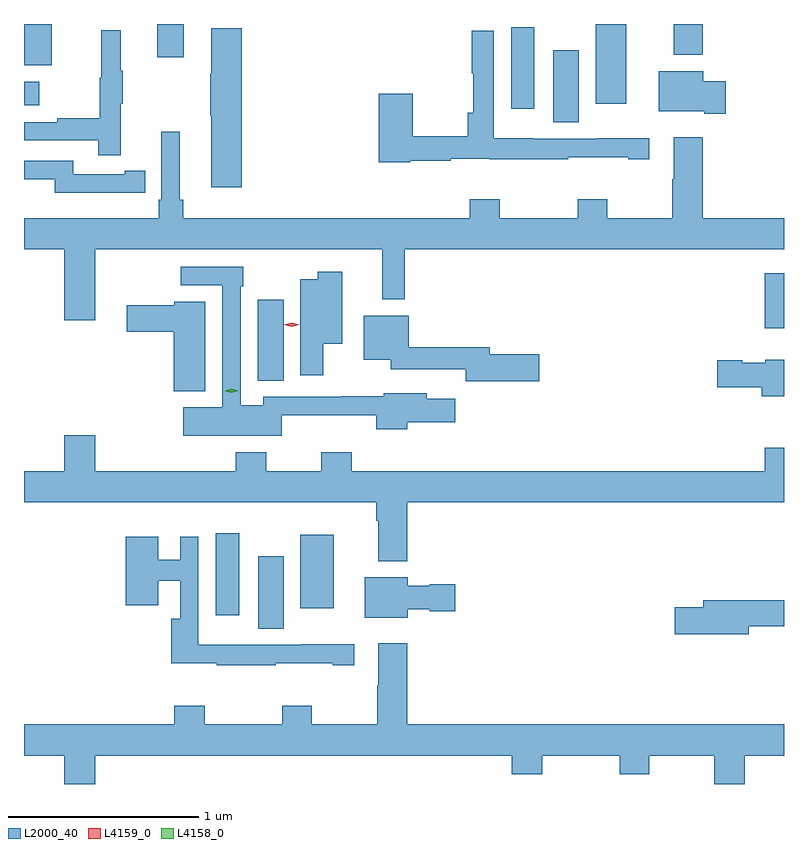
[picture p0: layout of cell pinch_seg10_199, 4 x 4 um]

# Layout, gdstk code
import gdstk
lib = gdstk.Library(unit=1e-6, precision=1e-09)
def R(c, l, rs):  # rectangles x0, y0, x1, y1
    for r in rs: c.add(gdstk.rectangle(r[:2], r[2:], *l))
def P(c, l, *ps):  # polygons
    for p in ps: c.add(gdstk.Polygon(p, *l))
L2000_40 = (2000, 40)
L4158_0 = (4158, 0)
L4159_0 = (4159, 0)

pinch_seg10_199 = lib.new_cell('pinch_seg10_199')
R(pinch_seg10_199, L2000_40, [(777.416,1279.672,777.55,1280.053), (777.194,1279.743,777.316,1280.173), (777.638,1279.778,777.814,1280.167), (777.413,1280.977,777.55,1281.403), (780.083,1281.254,780.184,1281.541), (778.97,1282.336,779.104,1282.717), (778.748,1282.407,778.87,1282.837), (776.184,1282.427,776.263,1282.549), (779.192,1282.434,779.353,1282.854), (776.184,1282.638,776.329,1282.854), (776.885,1282.68,777.025,1282.854), (779.603,1282.691,779.756,1282.854)])
P(pinch_seg10_199, L2000_40, [(777.329,1282.831),(777.17,1282.831),(777.17,1282.592),(777.163,1282.592),(777.163,1282.375),(777.17,1282.375),(777.17,1281.996),(777.329,1281.996)],
  [(776.693,1282.435),(776.704,1282.435),(776.704,1282.609),(776.693,1282.609),(776.693,1282.822),(776.59,1282.822),(776.59,1282.572),(776.583,1282.572),(776.583,1282.358),(776.359,1282.358),(776.359,1282.338),(776.184,1282.338),(776.184,1282.242),(776.575,1282.242),(776.575,1282.164),(776.693,1282.164)],
  [(778.218,1282.134),(778.43,1282.134),(778.43,1282.145),(778.632,1282.145),(778.632,1282.143),(779.048,1282.143),(779.048,1282.153),(779.363,1282.153),(779.363,1282.143),(779.476,1282.143),(779.476,1282.253),(779.2,1282.253),(779.2,1282.251),(778.866,1282.251),(778.866,1282.252),(778.656,1282.252),(778.656,1282.819),(778.54,1282.819),(778.54,1282.595),(778.548,1282.595),(778.548,1282.387),(778.519,1282.387),(778.519,1282.262),(778.23,1282.262),(778.23,1282.486),(778.052,1282.486),(778.052,1282.126),(778.218,1282.126)],
  [(779.878,1282.552),(779.758,1282.552),(779.758,1282.606),(779.525,1282.606),(779.525,1282.394),(779.765,1282.394),(779.765,1282.382),(779.878,1282.382)],
  [(780.184,1281.832),(779.756,1281.832),(779.756,1282.258),(779.603,1282.258),(779.603,1282.037),(779.596,1282.037),(779.596,1281.832),(779.253,1281.832),(779.253,1281.931),(779.098,1281.931),(779.098,1281.832),(778.689,1281.832),(778.689,1281.931),(778.529,1281.931),(778.529,1281.832),(777.023,1281.832),(777.023,1281.928),(777.004,1281.928),(777.004,1282.288),(776.907,1282.288),(776.907,1281.928),(776.894,1281.928),(776.894,1281.832),(776.184,1281.832),(776.184,1281.668),(776.396,1281.668),(776.396,1281.294),(776.56,1281.294),(776.56,1281.668),(778.07,1281.668),(778.07,1281.405),(778.187,1281.405),(778.187,1281.668),(780.184,1281.668)],
  [(776.714,1281.966),(776.822,1281.966),(776.822,1282.082),(776.714,1282.082),(776.714,1282.062),(776.442,1282.062),(776.442,1282.134),(776.184,1282.134),(776.184,1282.038),(776.346,1282.038),(776.346,1281.965),(776.714,1281.965)],
  [(777.54,1280.795),(778.037,1280.795),(778.037,1280.72),(778.202,1280.72),(778.202,1280.759),(778.453,1280.759),(778.453,1280.881),(778.303,1280.881),(778.303,1280.911),(778.077,1280.911),(778.077,1280.894),(777.856,1280.894),(777.856,1280.892),(777.444,1280.892),(777.444,1280.848),(777.324,1280.848),(777.324,1281.473),(777.337,1281.473),(777.337,1281.576),(777.009,1281.576),(777.009,1281.48),(777.228,1281.48),(777.228,1280.836),(777.021,1280.836),(777.021,1280.687),(777.54,1280.687)],
  [(777.76,1281.17),(777.859,1281.17),(777.859,1281.55),(777.73,1281.55),(777.73,1281.511),(777.638,1281.511),(777.638,1281.006),(777.76,1281.006)],
  [(777.139,1281.391),(776.976,1281.391),(776.976,1281.375),(776.724,1281.375),(776.724,1281.233),(776.972,1281.233),(776.972,1280.921),(777.139,1280.921)],
  [(778.897,1281.116),(778.636,1281.116),(778.636,1281.152),(778.209,1281.152),(778.209,1281.319),(777.971,1281.319),(777.971,1281.086),(778.113,1281.086),(778.113,1281.036),(778.508,1281.036),(778.508,1280.974),(778.897,1280.974)],
  [(780.184,1281.088),(780.084,1281.088),(780.084,1281.07),(779.964,1281.07),(779.964,1281.083),(779.832,1281.083),(779.832,1280.941),(780.068,1280.941),(780.068,1280.894),(780.184,1280.894)],
  [(778.202,1280.336),(780.184,1280.336),(780.184,1280.624),(780.083,1280.624),(780.083,1280.5),(777.908,1280.5),(777.908,1280.599),(777.748,1280.599),(777.748,1280.5),(777.459,1280.5),(777.459,1280.599),(777.299,1280.599),(777.299,1280.5),(776.56,1280.5),(776.56,1280.689),(776.396,1280.689),(776.396,1280.5),(776.184,1280.5),(776.184,1280.336),(778.037,1280.336),(778.037,1280.24),(778.049,1280.24),(778.049,1280.027),(778.202,1280.027)],
  [(777.509,1279.489),(777.809,1279.489),(777.809,1279.479),(777.922,1279.479),(777.922,1279.589),(777.646,1279.589),(777.646,1279.587),(777.312,1279.587),(777.312,1279.588),(777.102,1279.588),(777.102,1280.155),(777.006,1280.155),(777.006,1280.035),(776.89,1280.035),(776.89,1280.155),(776.72,1280.155),(776.72,1279.794),(776.89,1279.794),(776.89,1279.925),(777.006,1279.925),(777.006,1279.723),(776.96,1279.723),(776.96,1279.489),(777.199,1279.489),(777.199,1279.479),(777.509,1279.479)],
  [(778.204,1279.775),(778.32,1279.775),(778.32,1279.763),(778.453,1279.763),(778.453,1279.905),(778.32,1279.905),(778.32,1279.897),(778.204,1279.897),(778.204,1279.942),(777.977,1279.942),(777.977,1279.73),(778.204,1279.73)],
  [(779.998,1279.684),(780.184,1279.684),(780.184,1279.82),(779.759,1279.82),(779.759,1279.784),(779.61,1279.784),(779.61,1279.642),(779.998,1279.642)],
  [(776.56,1279.004),(778.751,1279.004),(778.751,1278.905),(778.911,1278.905),(778.911,1279.004),(779.32,1279.004),(779.32,1278.905),(779.475,1278.905),(779.475,1279.004),(779.818,1279.004),(779.818,1278.854),(779.978,1278.854),(779.978,1279.004),(780.184,1279.004),(780.184,1279.168),(778.202,1279.168),(778.202,1279.594),(778.049,1279.594),(778.049,1279.373),(778.042,1279.373),(778.042,1279.168),(777.699,1279.168),(777.699,1279.267),(777.544,1279.267),(777.544,1279.168),(777.135,1279.168),(777.135,1279.267),(776.975,1279.267),(776.975,1279.168),(776.184,1279.168),(776.184,1279.004),(776.396,1279.004),(776.396,1278.854),(776.56,1278.854)])
P(pinch_seg10_199, L4158_0, [(777.277,1280.913),(777.242,1280.922),(777.242,1280.922),(777.242,1280.923),(777.277,1280.933),(777.312,1280.924),(777.312,1280.924),(777.312,1280.924)])
P(pinch_seg10_199, L4159_0, [(777.592,1281.261),(777.552,1281.271),(777.551,1281.271),(777.552,1281.271),(777.592,1281.281),(777.633,1281.271),(777.633,1281.271),(777.633,1281.271)])

lib.write_gds('pinch_seg10_199.gds')
